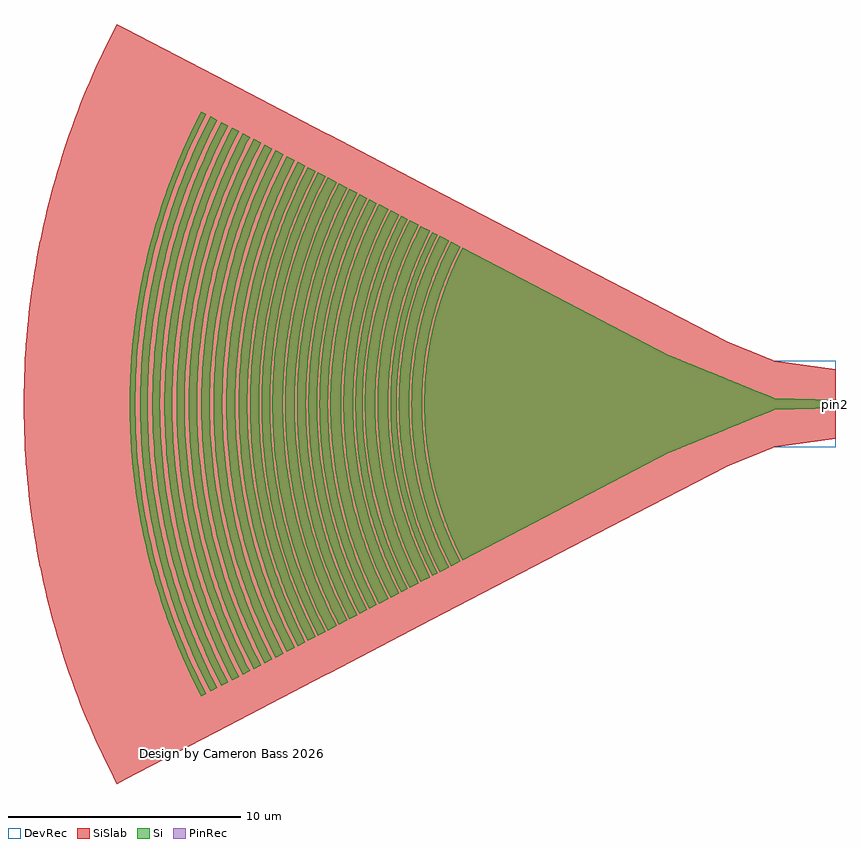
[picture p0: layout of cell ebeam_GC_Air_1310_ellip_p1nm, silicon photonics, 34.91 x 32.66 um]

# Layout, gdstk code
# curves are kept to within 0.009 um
import gdstk
lib = gdstk.Library(unit=1e-6, precision=1e-09)
def P(c, l, *ps):  # polygons
    for p in ps: c.add(gdstk.Polygon(p, *l))
Si = (1, 0)
PinRec = (1, 10)
SiSlab = (2, 0)
DevRec = (68, 0)

ebeam_gc_air_1310_ellip_ = lib.new_cell('ebeam_GC_Air_1310_ellip_p1nm')
P(ebeam_gc_air_1310_ellip_, Si, [(-16.048,-6.717),(-16.411,-5.969),(-16.785,-5.053),(-17.014,-4.384),(-17.279,-3.431),(-17.455,-2.601),(-17.582,-1.763),(-17.66,-0.918),(-17.688,-0.071),(-17.66,0.918),(-17.582,1.763),(-17.455,2.602),(-17.279,3.431),(-17.014,4.384),(-16.785,5.053),(-16.411,5.969),(-16.048,6.717),(-7.151,2.084),(-3.185,0.465),(-2.877,0.351),(-2.692,0.263),(-2.649,0.251),(0,0.175),(0,-0.175),(-2.677,-0.258),(-2.846,-0.338),(-3.2,-0.471),(-7.123,-2.071)],
  [(-16.54,-6.972),(-16.914,-6.199),(-17.251,-5.385),(-17.54,-4.553),(-17.78,-3.706),(-17.971,-2.846),(-18.111,-1.976),(-18.21,-0.954),(-18.24,-0.073),(-18.219,0.807),(-18.129,1.831),(-17.998,2.702),(-17.815,3.563),(-17.706,3.99),(-17.54,4.553),(-17.251,5.385),(-16.914,6.199),(-16.54,6.973),(-16.136,6.762),(-16.5,6.01),(-16.827,5.221),(-17.107,4.415),(-17.34,3.593),(-17.551,2.62),(-17.679,1.775),(-17.766,0.783),(-17.786,0.071),(-17.766,-0.783),(-17.679,-1.775),(-17.551,-2.619),(-17.374,-3.455),(-17.149,-4.279),(-16.877,-5.088),(-16.5,-6.01),(-16.136,-6.762)],
  [(-17.021,-7.223),(-17.408,-6.423),(-17.757,-5.58),(-18.056,-4.718),(-18.305,-3.84),(-18.502,-2.949),(-18.647,-2.048),(-18.74,-1.14),(-18.767,-0.684),(-18.781,-0.076),(-18.759,0.836),(-18.684,1.746),(-18.627,2.199),(-18.53,2.799),(-18.341,3.692),(-18.187,4.281),(-18.056,4.718),(-17.757,5.58),(-17.408,6.423),(-17.021,7.223),(-16.627,7.018),(-17.063,6.105),(-17.394,5.283),(-17.677,4.442),(-17.911,3.587),(-18.094,2.72),(-18.227,1.843),(-18.308,0.96),(-18.338,0.074),(-18.317,-0.812),(-18.227,-1.843),(-18.094,-2.72),(-17.911,-3.587),(-17.677,-4.442),(-17.394,-5.283),(-17.063,-6.105),(-16.627,-7.018)],
  [(-17.341,-7.39),(-17.737,-6.571),(-18.094,-5.709),(-18.4,-4.827),(-18.655,-3.929),(-18.857,-3.017),(-18.938,-2.557),(-19.025,-1.941),(-19.111,-1.011),(-19.142,-0.078),(-19.12,0.856),(-19.025,1.941),(-18.885,2.864),(-18.692,3.778),(-18.446,4.678),(-18.149,5.563),(-17.981,5.999),(-17.737,6.572),(-17.341,7.39),(-17.109,7.268),(-17.559,6.324),(-17.793,5.759),(-17.954,5.329),(-18.103,4.894),(-18.281,4.308),(-18.4,3.865),(-18.538,3.268),(-18.702,2.364),(-18.798,1.605),(-18.857,0.842),(-18.879,0.077),(-18.864,-0.689),(-18.813,-1.452),(-18.702,-2.364),(-18.569,-3.118),(-18.472,-3.567),(-18.322,-4.16),(-18.195,-4.602),(-18.005,-5.184),(-17.793,-5.758),(-17.559,-6.324),(-17.109,-7.268)],
  [(-17.837,-7.648),(-18.311,-6.654),(-18.672,-5.758),(-18.98,-4.842),(-19.234,-3.91),(-19.434,-2.964),(-19.578,-2.009),(-19.667,-1.046),(-19.7,-0.08),(-19.676,0.886),(-19.597,1.849),(-19.462,2.806),(-19.341,3.439),(-19.234,3.91),(-18.98,4.842),(-18.672,5.758),(-18.498,6.209),(-18.246,6.802),(-17.837,7.648),(-17.429,7.435),(-17.89,6.47),(-18.185,5.745),(-18.494,4.857),(-18.75,3.954),(-18.982,2.882),(-19.122,1.953),(-19.186,1.33),(-19.218,0.861),(-19.24,0.078),(-19.218,-0.861),(-19.186,-1.33),(-19.122,-1.953),(-18.982,-2.882),(-18.787,-3.801),(-18.54,-4.708),(-18.24,-5.598),(-17.89,-6.47),(-17.429,-7.435)],
  [(-18.317,-7.898),(-18.74,-7.023),(-19,-6.411),(-19.179,-5.946),(-19.498,-5),(-19.76,-4.037),(-19.966,-3.061),(-20.116,-2.074),(-20.207,-1.081),(-20.241,-0.083),(-20.217,0.915),(-20.135,1.909),(-19.995,2.897),(-19.799,3.876),(-19.636,4.521),(-19.498,5),(-19.179,5.946),(-19,6.411),(-18.74,7.024),(-18.317,7.898),(-17.926,7.694),(-18.337,6.843),(-18.529,6.397),(-18.765,5.793),(-19.075,4.872),(-19.331,3.934),(-19.532,2.982),(-19.677,2.021),(-19.767,1.053),(-19.8,0.081),(-19.776,-0.891),(-19.696,-1.86),(-19.56,-2.823),(-19.471,-3.301),(-19.331,-3.933),(-19.075,-4.871),(-18.765,-5.793),(-18.529,-6.396),(-18.337,-6.843),(-17.926,-7.694)],
  [(-18.679,-8.086),(-19.112,-7.19),(-19.503,-6.246),(-19.838,-5.281),(-20.03,-4.628),(-20.157,-4.133),(-20.368,-3.134),(-20.521,-2.123),(-20.615,-1.106),(-20.649,-0.085),(-20.625,0.936),(-20.541,1.955),(-20.398,2.966),(-20.27,3.635),(-20.157,4.133),(-20.03,4.628),(-19.838,5.281),(-19.503,6.246),(-19.112,7.19),(-18.679,8.086),(-18.405,7.944),(-18.69,7.369),(-18.897,6.912),(-19.153,6.294),(-19.329,5.824),(-19.492,5.349),(-19.686,4.709),(-19.816,4.224),(-19.967,3.572),(-20.146,2.584),(-20.251,1.754),(-20.316,0.92),(-20.34,0.084),(-20.316,-0.92),(-20.251,-1.754),(-20.146,-2.584),(-20.001,-3.408),(-19.895,-3.898),(-19.731,-4.547),(-19.543,-5.189),(-19.385,-5.666),(-19.153,-6.293),(-18.964,-6.758),(-18.69,-7.369),(-18.405,-7.943)],
  [(-19.137,-8.325),(-19.583,-7.403),(-19.858,-6.757),(-20.047,-6.267),(-20.382,-5.27),(-20.659,-4.255),(-20.876,-3.226),(-21.034,-2.186),(-21.13,-1.139),(-21.166,-0.088),(-21.156,0.614),(-21.13,1.139),(-21.034,2.186),(-20.876,3.226),(-20.659,4.255),(-20.382,5.27),(-20.047,6.267),(-19.654,7.243),(-19.437,7.721),(-19.137,8.325),(-18.768,8.132),(-19.203,7.232),(-19.471,6.601),(-19.655,6.122),(-19.983,5.148),(-20.254,4.157),(-20.466,3.152),(-20.62,2.136),(-20.714,1.113),(-20.749,0.086),(-20.724,-0.942),(-20.64,-1.966),(-20.496,-2.983),(-20.402,-3.488),(-20.254,-4.157),(-19.983,-5.148),(-19.655,-6.122),(-19.272,-7.075),(-19.06,-7.543),(-18.768,-8.132)],
  [(-19.636,-8.585),(-20.094,-7.636),(-20.509,-6.634),(-20.864,-5.609),(-21.16,-4.565),(-21.394,-3.506),(-21.567,-2.435),(-21.677,-1.355),(-21.708,-0.814),(-21.726,-0.09),(-21.7,0.994),(-21.61,2.076),(-21.459,3.15),(-21.323,3.86),(-21.203,4.39),(-20.918,5.436),(-20.694,6.124),(-20.509,6.634),(-20.094,7.636),(-19.636,8.585),(-19.226,8.371),(-19.673,7.444),(-20.078,6.467),(-20.258,5.97),(-20.477,5.3),(-20.713,4.45),(-20.941,3.418),(-21.11,2.374),(-21.188,1.673),(-21.229,1.145),(-21.265,0.088),(-21.26,-0.441),(-21.229,-1.145),(-21.132,-2.198),(-20.974,-3.244),(-20.755,-4.279),(-20.477,-5.299),(-20.258,-5.97),(-20.078,-6.467),(-19.673,-7.444),(-19.226,-8.371)],
  [(-20.051,-8.801),(-20.522,-7.826),(-20.947,-6.799),(-21.312,-5.748),(-21.615,-4.678),(-21.855,-3.593),(-22.032,-2.495),(-22.145,-1.389),(-22.177,-0.834),(-22.195,-0.093),(-22.168,1.019),(-22.077,2.127),(-22.007,2.679),(-21.889,3.411),(-21.659,4.499),(-21.471,5.216),(-21.312,5.748),(-20.947,6.799),(-20.522,7.826),(-20.051,8.801),(-19.728,8.632),(-19.958,8.172),(-20.262,7.512),(-20.473,7.009),(-20.731,6.329),(-20.963,5.64),(-21.168,4.942),(-21.345,4.237),(-21.461,3.703),(-21.618,2.808),(-21.732,1.906),(-21.803,1),(-21.829,0.091),(-21.819,-0.636),(-21.75,-1.725),(-21.645,-2.628),(-21.461,-3.703),(-21.345,-4.236),(-21.168,-4.942),(-20.963,-5.639),(-20.731,-6.329),(-20.473,-7.008),(-20.262,-7.511),(-19.958,-8.172),(-19.728,-8.632)],
  [(-20.471,-9.02),(-20.955,-8.019),(-21.391,-6.966),(-21.764,-5.89),(-22.075,-4.794),(-22.206,-4.239),(-22.356,-3.495),(-22.526,-2.368),(-22.631,-1.234),(-22.67,-0.095),(-22.642,1.044),(-22.548,2.18),(-22.389,3.308),(-22.285,3.868),(-22.12,4.61),(-21.928,5.344),(-21.764,5.89),(-21.391,6.966),(-20.955,8.019),(-20.471,9.02),(-20.14,8.847),(-20.457,8.206),(-20.762,7.526),(-21.04,6.835),(-21.231,6.309),(-21.406,5.779),(-21.616,5.064),(-21.799,4.341),(-21.917,3.795),(-22.078,2.877),(-22.195,1.953),(-22.267,1.024),(-22.294,0.093),(-22.276,-0.838),(-22.213,-1.768),(-22.105,-2.693),(-21.917,-3.795),(-21.799,-4.341),(-21.616,-5.064),(-21.406,-5.779),(-21.231,-6.309),(-20.973,-7.008),(-20.762,-7.526),(-20.457,-8.206),(-20.14,-8.847)],
  [(-20.906,-9.246),(-21.403,-8.217),(-21.849,-7.139),(-22.232,-6.036),(-22.551,-4.913),(-22.685,-4.344),(-22.839,-3.581),(-23.014,-2.427),(-23.121,-1.264),(-23.16,-0.097),(-23.155,0.487),(-23.121,1.264),(-23.014,2.427),(-22.839,3.582),(-22.597,4.724),(-22.29,5.85),(-21.918,6.957),(-21.482,8.04),(-21.156,8.747),(-20.906,9.246),(-20.564,9.067),(-20.891,8.407),(-21.203,7.71),(-21.488,7.002),(-21.684,6.464),(-21.864,5.92),(-22.079,5.188),(-22.222,4.633),(-22.387,3.888),(-22.552,2.948),(-22.672,2.001),(-22.746,1.05),(-22.774,0.096),(-22.755,-0.859),(-22.691,-1.811),(-22.58,-2.759),(-22.387,-3.888),(-22.222,-4.633),(-22.079,-5.188),(-21.864,-5.92),(-21.684,-6.464),(-21.488,-7.002),(-21.203,-7.71),(-20.891,-8.407),(-20.564,-9.067)],
  [(-21.357,-9.481),(-21.7,-8.79),(-21.947,-8.244),(-22.179,-7.692),(-22.394,-7.134),(-22.776,-5.999),(-23.091,-4.844),(-23.339,-3.673),(-23.518,-2.489),(-23.628,-1.296),(-23.668,-0.1),(-23.663,0.499),(-23.628,1.297),(-23.518,2.489),(-23.339,3.673),(-23.091,4.844),(-22.776,5.999),(-22.394,7.134),(-22.179,7.693),(-21.947,8.245),(-21.7,8.79),(-21.357,9.481),(-20.994,9.291),(-21.493,8.259),(-21.942,7.175),(-22.327,6.066),(-22.495,5.504),(-22.693,4.747),(-22.936,3.599),(-23.112,2.439),(-23.219,1.271),(-23.248,0.685),(-23.259,0.098),(-23.24,-0.88),(-23.174,-1.856),(-23.061,-2.827),(-22.863,-3.983),(-22.693,-4.747),(-22.495,-5.504),(-22.327,-6.066),(-22.077,-6.808),(-21.799,-7.539),(-21.572,-8.08),(-21.245,-8.79),(-20.994,-9.291)],
  [(-21.845,-9.734),(-22.107,-9.212),(-22.449,-8.467),(-22.687,-7.9),(-22.908,-7.326),(-23.113,-6.747),(-23.3,-6.161),(-23.471,-5.57),(-23.624,-4.975),(-23.76,-4.375),(-23.878,-3.772),(-23.979,-3.165),(-24.062,-2.556),(-24.175,-1.331),(-24.205,-0.717),(-24.216,-0.102),(-24.187,1.127),(-24.086,2.353),(-23.979,3.165),(-23.878,3.772),(-23.76,4.375),(-23.624,4.975),(-23.471,5.571),(-23.3,6.161),(-23.113,6.747),(-22.908,7.327),(-22.687,7.9),(-22.449,8.467),(-22.107,9.212),(-21.845,9.735),(-21.445,9.526),(-21.956,8.468),(-22.416,7.357),(-22.811,6.22),(-23.139,5.063),(-23.278,4.477),(-23.399,3.888),(-23.591,2.7),(-23.713,1.503),(-23.748,0.902),(-23.767,0.1),(-23.738,-1.103),(-23.68,-1.903),(-23.616,-2.501),(-23.436,-3.691),(-23.187,-4.868),(-22.87,-6.029),(-22.487,-7.169),(-22.037,-8.285),(-21.789,-8.833),(-21.445,-9.526)],
  [(-22.259,-9.95),(-22.792,-8.845),(-23.041,-8.268),(-23.273,-7.684),(-23.487,-7.094),(-23.747,-6.297),(-24.078,-5.085),(-24.337,-3.855),(-24.44,-3.235),(-24.525,-2.612),(-24.592,-1.987),(-24.641,-1.361),(-24.683,-0.105),(-24.677,0.524),(-24.653,1.152),(-24.55,2.404),(-24.471,3.028),(-24.374,3.649),(-24.259,4.267),(-24.078,5.085),(-23.747,6.297),(-23.555,6.896),(-23.273,7.684),(-23.041,8.269),(-22.792,8.846),(-22.259,9.95),(-21.933,9.78),(-22.284,9.07),(-22.539,8.508),(-22.854,7.747),(-23.071,7.168),(-23.271,6.584),(-23.51,5.796),(-23.67,5.199),(-23.856,4.396),(-23.975,3.79),(-24.076,3.18),(-24.205,2.159),(-24.285,1.132),(-24.315,0.103),(-24.309,-0.515),(-24.285,-1.132),(-24.205,-2.159),(-24.076,-3.18),(-23.975,-3.79),(-23.856,-4.396),(-23.67,-5.199),(-23.51,-5.795),(-23.271,-6.583),(-23.071,-7.168),(-22.778,-7.938),(-22.539,-8.507),(-22.284,-9.07),(-21.933,-9.78)],
  [(-22.693,-10.176),(-22.969,-9.627),(-23.24,-9.044),(-23.495,-8.454),(-23.732,-7.857),(-23.951,-7.253),(-24.153,-6.643),(-24.395,-5.821),(-24.555,-5.199),(-24.697,-4.572),(-24.82,-3.942),(-24.926,-3.308),(-25.013,-2.671),(-25.081,-2.032),(-25.131,-1.391),(-25.162,-0.75),(-25.174,-0.107),(-25.168,0.536),(-25.143,1.178),(-25.1,1.819),(-25.038,2.458),(-24.957,3.096),(-24.858,3.731),(-24.697,4.572),(-24.555,5.199),(-24.395,5.821),(-24.216,6.439),(-24.02,7.051),(-23.807,7.657),(-23.576,8.256),(-23.327,8.849),(-22.969,9.627),(-22.693,10.176),(-22.35,9.997),(-22.71,9.27),(-22.971,8.695),(-23.293,7.917),(-23.514,7.326),(-23.783,6.528),(-23.963,5.923),(-24.127,5.313),(-24.317,4.493),(-24.509,3.459),(-24.652,2.416),(-24.743,1.367),(-24.774,0.737),(-24.786,0.105),(-24.766,-0.947),(-24.729,-1.577),(-24.674,-2.206),(-24.542,-3.25),(-24.359,-4.287),(-24.226,-4.904),(-24.02,-5.72),(-23.783,-6.528),(-23.514,-7.326),(-23.293,-7.917),(-22.971,-8.695),(-22.71,-9.27),(-22.35,-9.997)],
  [(-23.125,-10.401),(-23.41,-9.834),(-23.687,-9.239),(-23.947,-8.636),(-24.19,-8.026),(-24.414,-7.409),(-24.621,-6.786),(-24.809,-6.157),(-24.979,-5.523),(-25.13,-4.885),(-25.263,-4.242),(-25.377,-3.595),(-25.472,-2.946),(-25.548,-2.294),(-25.62,-1.421),(-25.652,-0.766),(-25.664,-0.109),(-25.658,0.547),(-25.633,1.203),(-25.588,1.858),(-25.525,2.511),(-25.442,3.163),(-25.303,4.027),(-25.176,4.671),(-25.031,5.311),(-24.867,5.947),(-24.685,6.577),(-24.485,7.203),(-24.267,7.822),(-24.03,8.434),(-23.776,9.039),(-23.505,9.637),(-23.125,10.401),(-22.798,10.231),(-23.168,9.482),(-23.521,8.697),(-23.765,8.099),(-23.991,7.494),(-24.266,6.678),(-24.451,6.059),(-24.67,5.226),(-24.813,4.596),(-25.01,3.538),(-25.103,2.899),(-25.178,2.257),(-25.261,1.184),(-25.293,0.108),(-25.272,-0.969),(-25.178,-2.257),(-25.01,-3.538),(-24.813,-4.596),(-24.67,-5.226),(-24.451,-6.059),(-24.266,-6.678),(-23.991,-7.494),(-23.765,-8.099),(-23.435,-8.894),(-23.168,-9.482),(-22.798,-10.23)],
  [(-23.594,-10.646),(-23.889,-10.059),(-24.173,-9.451),(-24.439,-8.834),(-24.687,-8.21),(-24.917,-7.579),(-25.128,-6.942),(-25.321,-6.298),(-25.495,-5.65),(-25.65,-4.996),(-25.785,-4.339),(-25.937,-3.456),(-26.028,-2.791),(-26.099,-2.123),(-26.151,-1.454),(-26.184,-0.783),(-26.197,-0.112),(-26.19,0.56),(-26.164,1.231),(-26.119,1.901),(-26.054,2.569),(-25.969,3.235),(-25.865,3.899),(-25.697,4.778),(-25.548,5.433),(-25.381,6.083),(-25.194,6.728),(-24.989,7.368),(-24.766,8.001),(-24.524,8.627),(-24.264,9.246),(-23.986,9.858),(-23.594,10.646),(-23.256,10.469),(-23.543,9.897),(-23.911,9.097),(-24.167,8.488),(-24.48,7.665),(-24.694,7.04),(-24.951,6.197),(-25.175,5.345),(-25.321,4.701),(-25.523,3.618),(-25.672,2.527),(-25.735,1.87),(-25.78,1.211),(-25.812,0.11),(-25.791,-0.991),(-25.753,-1.65),(-25.695,-2.308),(-25.557,-3.401),(-25.448,-4.052),(-25.321,-4.701),(-25.175,-5.345),(-24.951,-6.197),(-24.694,-7.039),(-24.48,-7.664),(-24.167,-8.488),(-23.911,-9.097),(-23.543,-9.897),(-23.256,-10.469)],
  [(-24.077,-10.897),(-24.382,-10.291),(-24.672,-9.668),(-24.945,-9.037),(-25.199,-8.399),(-25.434,-7.754),(-25.718,-6.883),(-25.909,-6.223),(-26.08,-5.558),(-26.232,-4.888),(-26.365,-4.214),(-26.478,-3.536),(-26.571,-2.855),(-26.644,-2.172),(-26.697,-1.487),(-26.731,-0.801),(-26.744,-0.114),(-26.737,0.573),(-26.711,1.259),(-26.664,1.944),(-26.571,2.856),(-26.478,3.536),(-26.365,4.214),(-26.232,4.888),(-26.08,5.558),(-25.909,6.223),(-25.718,6.883),(-25.434,7.754),(-25.199,8.399),(-24.945,9.038),(-24.672,9.668),(-24.382,10.291),(-24.077,10.897),(-23.744,10.723),(-24.138,9.928),(-24.418,9.312),(-24.764,8.479),(-25.001,7.846),(-25.289,6.991),(-25.483,6.343),(-25.713,5.471),(-25.862,4.812),(-26.069,3.704),(-26.222,2.587),(-26.32,1.464),(-26.353,0.789),(-26.366,0.113),(-26.344,-1.014),(-26.304,-1.689),(-26.246,-2.363),(-26.104,-3.481),(-25.908,-4.591),(-25.765,-5.252),(-25.544,-6.126),(-25.289,-6.991),(-25.001,-7.846),(-24.764,-8.479),(-24.418,-9.312),(-24.041,-10.131),(-23.744,-10.723)],
  [(-24.547,-11.142),(-24.861,-10.519),(-25.158,-9.882),(-25.437,-9.237),(-25.696,-8.585),(-25.937,-7.925),(-26.158,-7.259),(-26.422,-6.361),(-26.598,-5.681),(-26.753,-4.996),(-26.889,-4.307),(-27.004,-3.614),(-27.099,-2.919),(-27.174,-2.22),(-27.229,-1.52),(-27.263,-0.819),(-27.276,-0.117),(-27.263,0.819),(-27.229,1.521),(-27.174,2.221),(-27.099,2.919),(-27.004,3.614),(-26.889,4.307),(-26.753,4.996),(-26.598,5.681),(-26.422,6.361),(-26.158,7.259),(-25.937,7.925),(-25.696,8.585),(-25.437,9.238),(-25.158,9.882),(-24.861,10.519),(-24.547,11.142),(-24.225,10.974),(-24.632,10.155),(-24.919,9.525),(-25.187,8.887),(-25.515,8.025),(-25.81,7.151),(-26.008,6.489),(-26.188,5.82),(-26.396,4.922),(-26.608,3.789),(-26.764,2.646),(-26.865,1.498),(-26.898,0.807),(-26.911,0.115),(-26.905,-0.576),(-26.878,-1.268),(-26.788,-2.417),(-26.708,-3.104),(-26.608,-3.789),(-26.396,-4.922),(-26.188,-5.82),(-26.008,-6.488),(-25.81,-7.151),(-25.515,-8.025),(-25.187,-8.887),(-24.919,-9.525),(-24.632,-10.155),(-24.225,-10.974)],
  [(-25.02,-11.388),(-25.342,-10.749),(-25.646,-10.099),(-25.93,-9.44),(-26.196,-8.773),(-26.441,-8.099),(-26.667,-7.418),(-26.874,-6.73),(-27.06,-6.037),(-27.225,-5.339),(-27.371,-4.636),(-27.495,-3.93),(-27.6,-3.22),(-27.683,-2.507),(-27.746,-1.792),(-27.797,-0.837),(-27.811,-0.12),(-27.804,0.598),(-27.776,1.315),(-27.727,2.031),(-27.658,2.745),(-27.567,3.457),(-27.415,4.401),(-27.276,5.106),(-27.117,5.805),(-26.938,6.5),(-26.738,7.19),(-26.519,7.873),(-26.196,8.773),(-25.93,9.44),(-25.646,10.099),(-25.342,10.749),(-25.02,11.388),(-24.705,11.224),(-25.123,10.383),(-25.416,9.739),(-25.69,9.087),(-26.026,8.206),(-26.255,7.537),(-26.53,6.635),(-26.714,5.951),(-26.927,5.033),(-27.143,3.874),(-27.303,2.706),(-27.372,2.002),(-27.42,1.296),(-27.454,0.118),(-27.447,-0.589),(-27.42,-1.296),(-27.328,-2.471),(-27.18,-3.641),(-27.064,-4.339),(-26.927,-5.033),(-26.714,-5.951),(-26.53,-6.634),(-26.255,-7.537),(-26.026,-8.206),(-25.69,-9.087),(-25.416,-9.739),(-25.021,-10.596),(-24.705,-11.223)],
  [(-25.482,-11.628),(-25.811,-10.975),(-26.121,-10.311),(-26.411,-9.638),(-26.682,-8.957),(-26.933,-8.269),(-27.164,-7.574),(-27.375,-6.872),(-27.565,-6.164),(-27.786,-5.213),(-27.927,-4.494),(-28.048,-3.771),(-28.147,-3.045),(-28.225,-2.317),(-28.282,-1.586),(-28.317,-0.855),(-28.332,-0.122),(-28.317,0.855),(-28.282,1.586),(-28.225,2.317),(-28.147,3.045),(-28.048,3.771),(-27.927,4.494),(-27.786,5.213),(-27.623,5.927),(-27.44,6.637),(-27.237,7.34),(-27.013,8.038),(-26.682,8.958),(-26.411,9.638),(-26.121,10.311),(-25.811,10.975),(-25.482,11.628),(-25.179,11.47),(-25.607,10.61),(-25.906,9.952),(-26.276,9.062),(-26.53,8.385),(-26.838,7.472),(-27.045,6.78),(-27.233,6.081),(-27.4,5.378),(-27.546,4.67),(-27.672,3.959),(-27.835,2.765),(-27.905,2.046),(-27.954,1.325),(-27.989,0.121),(-27.966,-1.084),(-27.924,-1.805),(-27.861,-2.525),(-27.777,-3.243),(-27.672,-3.958),(-27.451,-5.142),(-27.233,-6.081),(-27.045,-6.779),(-26.838,-7.472),(-26.53,-8.385),(-26.276,-9.062),(-25.906,-9.952),(-25.607,-10.61),(-25.179,-11.47)],
  [(-25.947,-11.87),(-26.283,-11.203),(-26.6,-10.525),(-26.896,-9.839),(-27.173,-9.144),(-27.429,-8.441),(-27.665,-7.731),(-27.88,-7.015),(-28.074,-6.292),(-28.299,-5.321),(-28.444,-4.587),(-28.566,-3.849),(-28.668,-3.108),(-28.748,-2.365),(-28.806,-1.619),(-28.842,-0.872),(-28.856,-0.125),(-28.842,0.872),(-28.806,1.619),(-28.748,2.365),(-28.668,3.109),(-28.566,3.85),(-28.444,4.587),(-28.299,5.321),(-28.133,6.05),(-27.947,6.775),(-27.739,7.493),(-27.51,8.205),(-27.261,8.91),(-26.991,9.608),(-26.6,10.525),(-26.283,11.203),(-25.947,11.871),(-25.649,11.715),(-25.98,11.058),(-26.392,10.164),(-26.678,9.483),(-27.029,8.563),(-27.268,7.865),(-27.556,6.924),(-27.747,6.211),(-27.97,5.252),(-28.195,4.043),(-28.362,2.824),(-28.434,2.089),(-28.484,1.353),(-28.52,0.123),(-28.512,-0.615),(-28.484,-1.353),(-28.388,-2.579),(-28.233,-3.799),(-28.112,-4.527),(-27.97,-5.252),(-27.806,-5.972),(-27.556,-6.923),(-27.268,-7.865),(-27.029,-8.563),(-26.678,-9.483),(-26.392,-10.163),(-25.98,-11.057),(-25.649,-11.715)],
  [(-26.406,-12.109),(-26.749,-11.428),(-27.072,-10.737),(-27.374,-10.036),(-27.656,-9.327),(-27.918,-8.61),(-28.158,-7.886),(-28.377,-7.155),(-28.575,-6.419),(-28.751,-5.676),(-28.906,-4.929),(-29.039,-4.178),(-29.149,-3.423),(-29.238,-2.665),(-29.305,-1.905),(-29.359,-0.89),(-29.374,-0.127),(-29.366,0.636),(-29.337,1.398),(-29.285,2.159),(-29.211,2.919),(-29.115,3.675),(-28.953,4.679),(-28.805,5.428),(-28.636,6.172),(-28.446,6.911),(-28.234,7.644),(-28,8.37),(-27.746,9.089),(-27.471,9.801),(-27.072,10.737),(-26.749,11.428),(-26.406,12.109),(-26.118,11.959),(-26.456,11.288),(-26.775,10.605),(-27.074,9.913),(-27.441,8.978),(-27.692,8.267),(-27.995,7.309),(-28.26,6.34),(-28.434,5.607),(-28.587,4.869),(-28.718,4.127),(-28.888,2.883),(-28.998,1.632),(-29.034,0.879),(-29.049,0.126),(-29.041,-0.628),(-29.012,-1.381),(-28.915,-2.633),(-28.827,-3.381),(-28.718,-4.127),(-28.587,-4.869),(-28.434,-5.607),(-28.26,-6.34),(-27.995,-7.309),(-27.692,-8.267),(-27.441,-8.977),(-27.074,-9.913),(-26.775,-10.605),(-26.456,-11.287),(-26.118,-11.959)],
  [(-26.876,-12.354),(-27.331,-11.439),(-27.653,-10.73),(-27.955,-10.011),(-28.236,-9.284),(-28.495,-8.55),(-28.733,-7.808),(-28.949,-7.059),(-29.144,-6.304),(-29.316,-5.544),(-29.466,-4.78),(-29.594,-4.011),(-29.7,-3.239),(-29.782,-2.464),(-29.843,-1.687),(-29.881,-0.909),(-29.896,-0.13),(-29.881,0.909),(-29.843,1.687),(-29.782,2.464),(-29.7,3.239),(-29.594,4.011),(-29.466,4.78),(-29.316,5.545),(-29.144,6.304),(-28.949,7.059),(-28.733,7.808),(-28.495,8.55),(-28.236,9.285),(-27.955,10.011),(-27.653,10.73),(-27.331,11.439),(-26.876,12.355),(-26.585,12.203),(-27.041,11.286),(-27.36,10.586),(-27.753,9.639),(-28.023,8.919),(-28.272,8.192),(-28.5,7.457),(-28.707,6.717),(-28.948,5.721),(-29.196,4.463),(-29.315,3.704),(-29.412,2.941),(-29.486,2.176),(-29.538,1.409),(-29.576,0.128),(-29.551,-1.153),(-29.506,-1.92),(-29.439,-2.686),(-29.278,-3.957),(-29.151,-4.716),(-29.003,-5.47),(-28.771,-6.468),(-28.571,-7.211),(-28.351,-7.948),(-28.023,-8.919),(-27.753,-9.639),(-27.36,-10.586),(-27.041,-11.286),(-26.585,-12.202)],
  [(-27.274,-12.562),(-27.63,-11.853),(-27.965,-11.136),(-28.278,-10.41),(-28.57,-9.674),(-28.827,-8.972),(-29.09,-8.18),(-29.317,-7.422),(-29.522,-6.658),(-29.704,-5.888),(-29.864,-5.113),(-30.002,-4.333),(-30.117,-3.551),(-30.234,-2.502),(-30.29,-1.794),(-30.334,-0.923),(-30.349,-0.132),(-30.341,0.659),(-30.311,1.45),(-30.257,2.24),(-30.15,3.289),(-30.043,4.073),(-29.913,4.854),(-29.76,5.63),(-29.585,6.402),(-29.388,7.168),(-29.168,7.928),(-28.927,8.682),(-28.663,9.428),(-28.378,10.166),(-27.965,11.137),(-27.63,11.854),(-27.274,12.562),(-27.064,12.452),(-27.408,11.766),(-27.74,11.055),(-28.15,10.091),(-28.433,9.358),(-28.695,8.618),(-28.935,7.87),(-29.221,6.862),(-29.409,6.1),(-29.674,4.818),(-29.803,4.043),(-29.909,3.265),(-29.993,2.484),(-30.054,1.701),(-30.092,0.916),(-30.107,0.131),(-30.082,-1.178),(-30.036,-1.962),(-29.967,-2.744),(-29.876,-3.524),(-29.762,-4.302),(-29.626,-5.075),(-29.467,-5.844),(-29.286,-6.609),(-29.083,-7.367),(-28.857,-8.12),(-28.523,-9.112),(-28.247,-9.848),(-27.846,-10.815),(-27.521,-11.53),(-27.064,-12.452)])
P(ebeam_gc_air_1310_ellip_, SiSlab, [(-30.904,-16.329),(-31.366,-15.41),(-31.801,-14.477),(-32.208,-13.533),(-32.588,-12.577),(-32.94,-11.61),(-33.264,-10.634),(-33.559,-9.648),(-33.825,-8.655),(-34.062,-7.654),(-34.27,-6.647),(-34.449,-5.634),(-34.598,-4.616),(-34.717,-3.594),(-34.807,-2.569),(-34.867,-1.543),(-34.9,-0.171),(-34.89,0.857),(-34.85,1.885),(-34.781,2.912),(-34.681,3.935),(-34.552,4.956),(-34.393,5.972),(-34.135,7.319),(-33.907,8.322),(-33.651,9.318),(-33.365,10.307),(-33.051,11.286),(-32.709,12.256),(-32.338,13.216),(-31.94,14.164),(-31.366,15.41),(-30.904,16.329),(-4.744,2.708),(-2.65,1.855),(0,1.5),(0,-1.5),(-2.65,-1.855),(-4.728,-2.7)])
P(ebeam_gc_air_1310_ellip_, DevRec, [(-30.904,-16.329),(-31.366,-15.41),(-31.801,-14.477),(-32.208,-13.533),(-32.588,-12.577),(-32.94,-11.61),(-33.264,-10.634),(-33.559,-9.648),(-33.825,-8.655),(-34.062,-7.654),(-34.27,-6.647),(-34.449,-5.634),(-34.598,-4.616),(-34.717,-3.594),(-34.807,-2.569),(-34.867,-1.543),(-34.9,-0.171),(-34.89,0.857),(-34.85,1.885),(-34.781,2.912),(-34.681,3.935),(-34.552,4.956),(-34.393,5.972),(-34.135,7.319),(-33.907,8.322),(-33.651,9.318),(-33.365,10.307),(-33.051,11.286),(-32.709,12.256),(-32.338,13.216),(-31.94,14.164),(-31.366,15.41),(-30.904,16.329),(-4.744,2.708),(-2.65,1.855),(0,1.855),(0,-1.855),(-2.65,-1.855),(-4.728,-2.7)])
ebeam_gc_air_1310_ellip_.add(gdstk.FlexPath([(-0.01,0),(0.01,0)], 0.35, ends="flush", simple_path=True, layer=1, datatype=10))  # PinRec
ebeam_gc_air_1310_ellip_.add(gdstk.Label('pin2', (0,0), layer=1, texttype=10))
ebeam_gc_air_1310_ellip_.add(gdstk.Label('Design by Cameron Bass 2026', (-25.94,-15.02), layer=10, texttype=0))

lib.write_gds('ebeam_GC_Air_1310_ellip_p1nm.gds')
